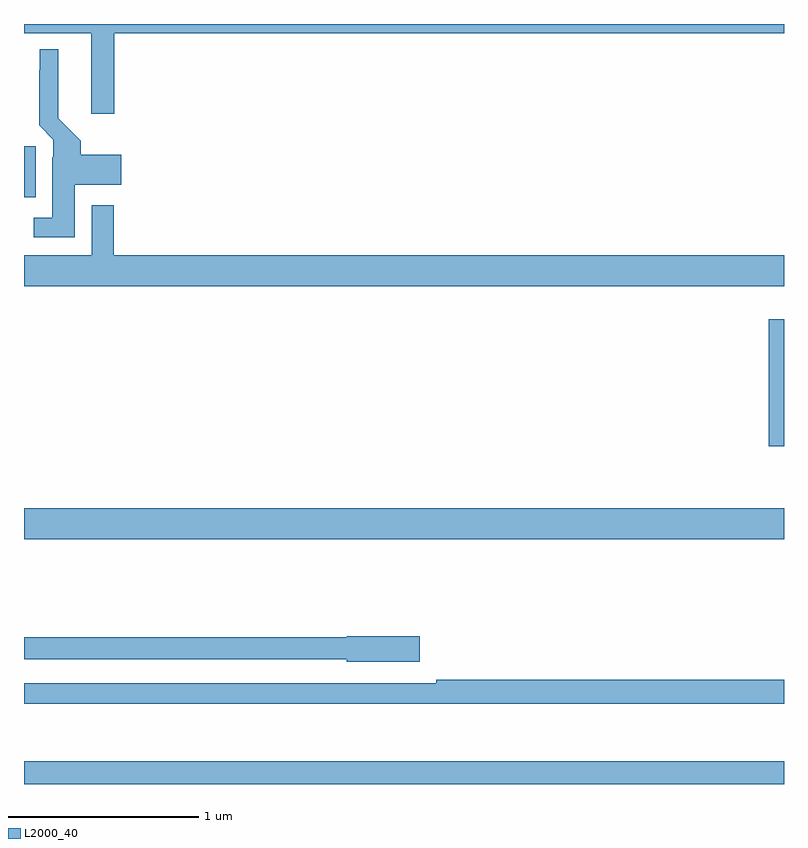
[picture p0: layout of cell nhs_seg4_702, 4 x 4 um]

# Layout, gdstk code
import gdstk
lib = gdstk.Library(unit=1e-6, precision=1e-09)
def R(c, l, rs):  # rectangles x0, y0, x1, y1
    for r in rs: c.add(gdstk.rectangle(r[:2], r[2:], *l))
def P(c, l, *ps):  # polygons
    for p in ps: c.add(gdstk.Polygon(p, *l))
L2000_40 = (2000, 40)

nhs_seg4_702 = lib.new_cell('nhs_seg4_702')
R(nhs_seg4_702, L2000_40, [(147,760.9,151,761.02), (147,762.188,151,762.352), (150.92,762.678,151,763.345), (147,763.989,147.061,764.257)])
P(nhs_seg4_702, L2000_40, [(147.476,764.852),(151,764.852),(151,764.9),(147,764.9),(147,764.852),(147.353,764.852),(147.353,764.427),(147.476,764.427)],
  [(147.268,764.054),(147.511,764.054),(147.511,764.212),(147.299,764.212),(147.299,764.286),(147.181,764.404),(147.181,764.767),(147.083,764.767),(147.083,764.657),(147.079,764.657),(147.079,764.366),(147.153,764.292),(147.153,764.198),(147.149,764.198),(147.149,763.879),(147.051,763.879),(147.051,763.778),(147.268,763.778)],
  [(151,763.684),(147.473,763.684),(147.473,763.945),(147.357,763.945),(147.357,763.684),(147,763.684),(147,763.52),(151,763.52)],
  [(149.083,761.678),(148.698,761.678),(148.698,761.672),(147,761.672),(147,761.556),(148.698,761.556),(148.698,761.543),(149.083,761.543)],
  [(151,761.45),(149.17,761.45),(149.17,761.43),(147,761.43),(147,761.322),(151,761.322)])

lib.write_gds('nhs_seg4_702.gds')
